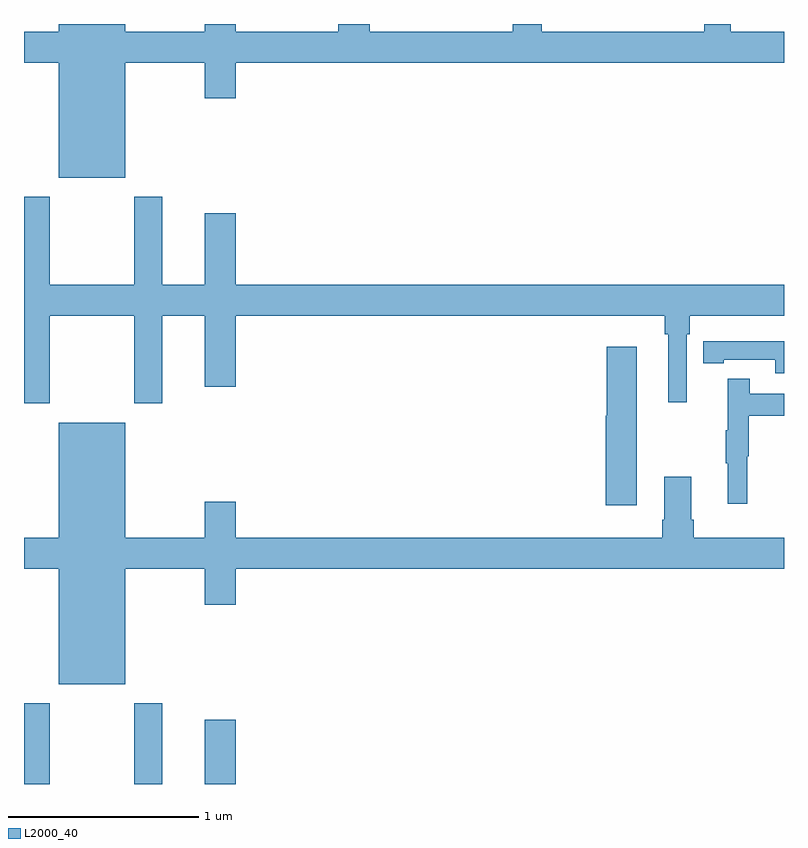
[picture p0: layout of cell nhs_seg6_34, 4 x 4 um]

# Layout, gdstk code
import gdstk
lib = gdstk.Library(unit=1e-6, precision=1e-09)
def R(c, l, rs):  # rectangles x0, y0, x1, y1
    for r in rs: c.add(gdstk.rectangle(r[:2], r[2:], *l))
def P(c, l, *ps):  # polygons
    for p in ps: c.add(gdstk.Polygon(p, *l))
L2000_40 = (2000, 40)

nhs_seg6_34 = lib.new_cell('nhs_seg6_34')
R(nhs_seg6_34, L2000_40, [(111,983.5,111.135,983.926), (111.58,983.5,111.727,983.926), (111.95,983.5,112.114,983.839)])
P(nhs_seg6_34, L2000_40, [(111.532,987.296),(111.95,987.296),(111.95,987.108),(112.114,987.108),(112.114,987.296),(115,987.296),(115,987.46),(114.72,987.46),(114.72,987.5),(114.581,987.5),(114.581,987.46),(113.725,987.46),(113.725,987.5),(113.573,987.5),(113.573,987.46),(112.82,987.46),(112.82,987.5),(112.655,987.5),(112.655,987.46),(112.114,987.46),(112.114,987.5),(111.95,987.5),(111.95,987.46),(111.532,987.46),(111.532,987.5),(111.182,987.5),(111.182,987.46),(111,987.46),(111,987.296),(111.182,987.296),(111.182,986.69),(111.532,986.69)],
  [(111.135,985.964),(111.58,985.964),(111.58,985.503),(111.727,985.503),(111.727,985.964),(111.95,985.964),(111.95,985.59),(112.114,985.59),(112.114,985.964),(114.373,985.964),(114.373,985.868),(114.392,985.868),(114.392,985.509),(114.489,985.509),(114.489,985.868),(114.503,985.868),(114.503,985.964),(115,985.964),(115,986.128),(112.114,986.128),(112.114,986.503),(111.95,986.503),(111.95,986.128),(111.727,986.128),(111.727,986.59),(111.58,986.59),(111.58,986.128),(111.135,986.128),(111.135,986.59),(111,986.59),(111,985.503),(111.135,985.503)],
  [(115,985.831),(114.682,985.831),(114.682,985.83),(114.574,985.83),(114.574,985.714),(114.682,985.714),(114.682,985.734),(114.954,985.734),(114.954,985.662),(115,985.662)],
  [(114.226,985.801),(114.068,985.801),(114.068,985.437),(114.062,985.437),(114.062,984.966),(114.226,984.966)],
  [(114.806,985.224),(114.814,985.224),(114.814,985.438),(115,985.438),(115,985.554),(114.821,985.554),(114.821,985.633),(114.704,985.633),(114.704,985.361),(114.693,985.361),(114.693,985.187),(114.704,985.187),(114.704,984.975),(114.806,984.975)],
  [(111.532,984.632),(111.95,984.632),(111.95,984.444),(112.114,984.444),(112.114,984.632),(115,984.632),(115,984.796),(114.524,984.796),(114.524,984.892),(114.511,984.892),(114.511,985.117),(114.371,985.117),(114.371,984.892),(114.359,984.892),(114.359,984.796),(112.114,984.796),(112.114,984.985),(111.95,984.985),(111.95,984.796),(111.532,984.796),(111.532,985.402),(111.182,985.402),(111.182,984.796),(111,984.796),(111,984.632),(111.182,984.632),(111.182,984.026),(111.532,984.026)])

lib.write_gds('nhs_seg6_34.gds')
